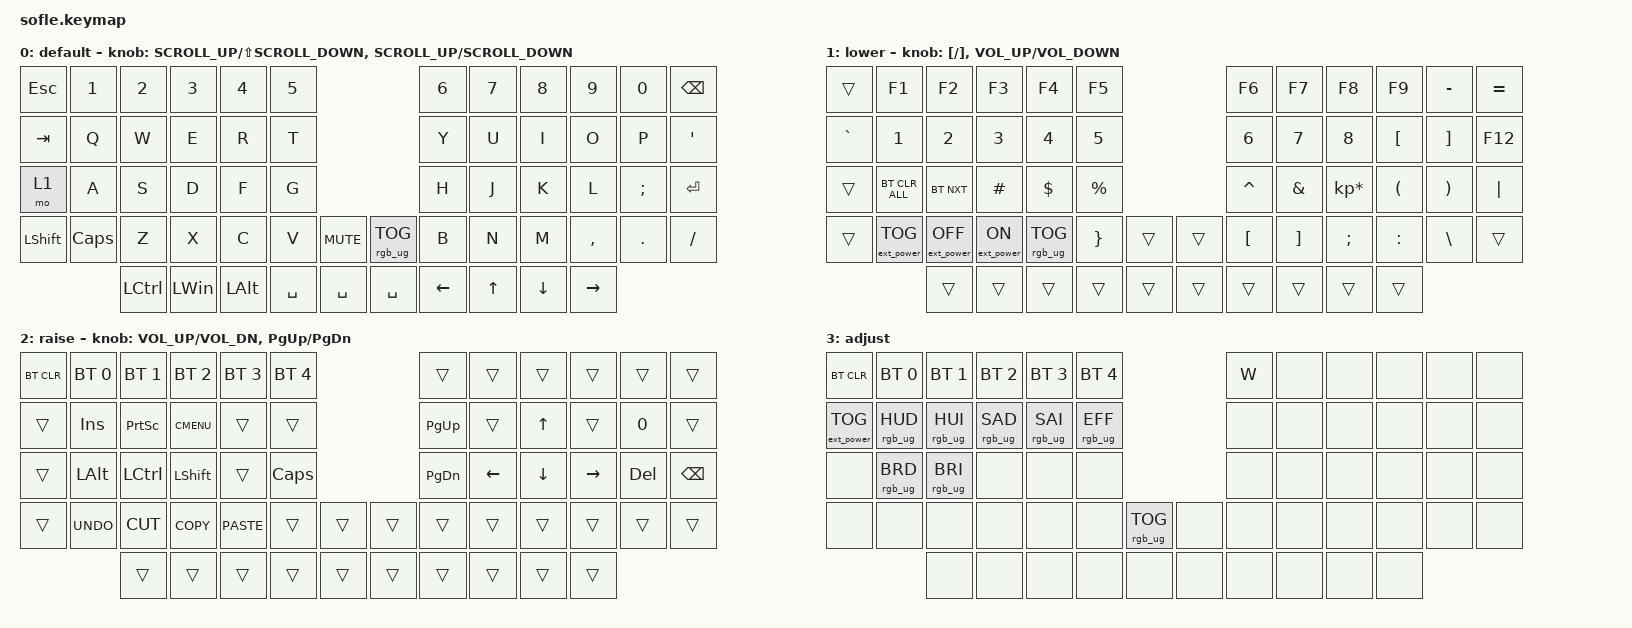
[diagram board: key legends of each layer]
/*
 * Copyright (c) 2020 The ZMK Contributors
 *
 * SPDX-License-Identifier: MIT
 */

#include <behaviors.dtsi>
#include <dt-bindings/zmk/bt.h>
#include <dt-bindings/zmk/ext_power.h>
#include <dt-bindings/zmk/keys.h>
#include <dt-bindings/zmk/rgb.h>

#define BASE 0
#define LOWER 1
#define RAISE 2
#define ADJUST 3

/ {
    // Activate ADJUST layer by pressing raise and lower

    conditional_layers {
        compatible = "zmk,conditional-layers";

        adjust_layer {
            if-layers = <LOWER RAISE>;
            then-layer = <ADJUST>;
        };
    };

    keymap {
        compatible = "zmk,keymap";

        default_layer {
            label = "default";

            // ------------------------------------------------------------------------------------------------------------
            // |   `   |  1  |  2  |  3   |  4   |  5   |                   |  6   |  7    |  8    |  9   |   0   |       |
            // |  ESC  |  Q  |  W  |  E   |  R   |  T   |                   |  Y   |  U    |  I    |  O   |   P   | BKSPC |
            // |  TAB  |  A  |  S  |  D   |  F   |  G   |                   |  H   |  J    |  K    |  L   |   ;   |   '   |
            // | SHIFT |  Z  |  X  |  C   |  V   |  B   |  MUTE  |  |       |  N   |  M    |  ,    |  .   |   /   | SHIFT |
            //               | GUI | ALT  | CTRL | LOWER|  ENTER |  | SPACE | RAISE| CTRL  | ALT   | GUI  |

            bindings = <
&kp ESC    &kp N1        &kp N2     &kp N3        &kp N4        &kp N5                                    &kp N6    &kp N7  &kp N8          &kp N9           &kp N0      &kp BACKSPACE
&kp TAB    &kp Q         &kp W      &kp E         &kp R         &kp T                                     &kp Y     &kp U   &kp I           &kp O            &kp P       &kp SQT
&mo 1      &kp A         &kp S      &kp D         &kp F         &kp G                                     &kp H     &kp J   &kp K           &kp L            &kp SEMI    &kp ENTER
&kp LSHFT  &kp CAPSLOCK  &kp Z      &kp X         &kp C         &kp V      &kp C_MUTE    &rgb_ug RGB_TOG  &kp B     &kp N   &kp M           &kp COMMA        &kp PERIOD  &kp SLASH
                         &kp LCTRL  &kp LEFT_WIN  &kp LEFT_ALT  &kp SPACE  &kp SPACE     &kp SPACE        &kp LEFT  &kp UP  &kp DOWN_ARROW  &kp RIGHT_ARROW
            >;

            sensor-bindings =
                <&inc_dec_kp K_SCROLL_UP LS(K_SCROLL_DOWN)>,
                <&inc_dec_kp K_SCROLL_UP K_SCROLL_DOWN>;
        };

        lower_layer {
            label = "lower";

            // TODO: Some binds are waiting for shifted keycode support.
            // ------------------------------------------------------------------------------------------------------------
            // |       |  F1 |  F2 |  F3  |  F4  |  F5  |                   |  F6  |  F7   |  F8   |  F9  |  F10  |  F11  |
            // |   `   |  1  |  2  |  3   |  4   |  5   |                   |  6   |  7    |  8    |  9   |   0   |  F12  |
            // |       |  !  |  @  |  #   |  $   |  %   |                   |  ^   |  &    |  *    |  (   |   )   |   |   |
            // |       |  =  |  -  |  +   |  {   |  }   |        |  |       |  [   |  ]    |  ;    |  :   |   \   |       |
            //               |     |      |      |      |        |  |       |      |       |       |      |

            bindings = <
&trans     &kp F1             &kp F2             &kp F3            &kp F4           &kp F5                       &kp F6     &kp F7    &kp F8           &kp F9            &kp MINUS          &kp EQUAL
&kp GRAVE  &kp N1             &kp N2             &kp N3            &kp N4           &kp N5                       &kp N6     &kp N7    &kp N8           &kp LEFT_BRACKET  &kp RIGHT_BRACKET  &kp F12
&trans     &bt BT_CLR_ALL     &bt BT_NXT         &kp HASH          &kp DLLR         &kp PRCNT                    &kp CARET  &kp AMPS  &kp KP_MULTIPLY  &kp LPAR          &kp RPAR           &kp PIPE
&trans     &ext_power EP_TOG  &ext_power EP_OFF  &ext_power EP_ON  &rgb_ug RGB_TOG  &kp RBRC   &trans    &trans  &kp LBKT   &kp RBKT  &kp SEMI         &kp COLON         &kp BSLH           &trans
                              &trans             &trans            &trans           &trans     &trans    &trans  &trans     &trans    &trans           &trans
            >;

            sensor-bindings =
                <&inc_dec_kp LEFT_BRACKET RIGHT_BRACKET>,
                <&inc_dec_kp C_VOLUME_UP C_VOLUME_DOWN>;
        };

        raise_layer {
            label = "raise";

            // ------------------------------------------------------------------------------------------------------------
            // | BTCLR | BT1  | BT2  |  BT3  |  BT4  |  BT5 |                |      |      |       |      |       |       |
            // |       | INS  | PSCR | GUI   |       |      |                | PGUP |      |   ^   |      |       |       |
            // |       | ALT  | CTRL | SHIFT |       | CAPS |                | PGDN |   <- |   v   |  ->  |  DEL  | BKSPC |
            // |       | UNDO | CUT  | COPY  | PASTE |      |      |  |      |      |      |       |      |       |       |
            //                |      |       |       |      |      |  |      |      |      |       |      |

            bindings = <
&bt BT_CLR  &bt BT_SEL 0  &bt BT_SEL 1  &bt BT_SEL 2  &bt BT_SEL 3  &bt BT_SEL 4                    &trans     &trans    &trans    &trans     &trans   &trans
&trans      &kp INS       &kp PSCRN     &kp K_CMENU   &trans        &trans                          &kp PG_UP  &trans    &kp UP    &trans     &kp N0   &trans
&trans      &kp LALT      &kp LCTRL     &kp LSHFT     &trans        &kp CLCK                        &kp PG_DN  &kp LEFT  &kp DOWN  &kp RIGHT  &kp DEL  &kp BSPC
&trans      &kp K_UNDO    &kp K_CUT     &kp K_COPY    &kp K_PASTE   &trans        &trans    &trans  &trans     &trans    &trans    &trans     &trans   &trans
                          &trans        &trans        &trans        &trans        &trans    &trans  &trans     &trans    &trans    &trans
            >;

            sensor-bindings = <&inc_dec_kp C_VOL_UP C_VOL_DN &inc_dec_kp PG_UP PG_DN>;
        };

        adjust_layer {
            // ----------------------------------------------------------------------------------------------------------------------------
            // | BTCLR  |  BT1    |  BT2    |   BT3   |   BT4   |   BT5   |                  |      |      |       |      |       |       |
            // | EXTPWR | RGB_HUD | RGB_HUI | RGB_SAD | RGB_SAI | RGB_EFF |                  |      |      |       |      |       |       |
            // |        | RGB_BRD | RGB_BRI |         |         |         |                  |      |      |       |      |       |       |
            // |        |         |         |         |         |         | RGB_TOG | |      |      |      |       |      |       |       |
            //                    |         |         |         |         |         | |      |      |      |       |      |

            label = "adjust";
            bindings = <
&bt BT_CLR         &bt BT_SEL 0     &bt BT_SEL 1     &bt BT_SEL 2     &bt BT_SEL 3     &bt BT_SEL 4                               &kp W  &none  &none  &none  &none  &none
&ext_power EP_TOG  &rgb_ug RGB_HUD  &rgb_ug RGB_HUI  &rgb_ug RGB_SAD  &rgb_ug RGB_SAI  &rgb_ug RGB_EFF                            &none  &none  &none  &none  &none  &none
&none              &rgb_ug RGB_BRD  &rgb_ug RGB_BRI  &none            &none            &none                                      &none  &none  &none  &none  &none  &none
&none              &none            &none            &none            &none            &none            &rgb_ug RGB_TOG    &none  &none  &none  &none  &none  &none  &none
                                    &none            &none            &none            &none            &none              &none  &none  &none  &none  &none
            >;
        };
    };
};
